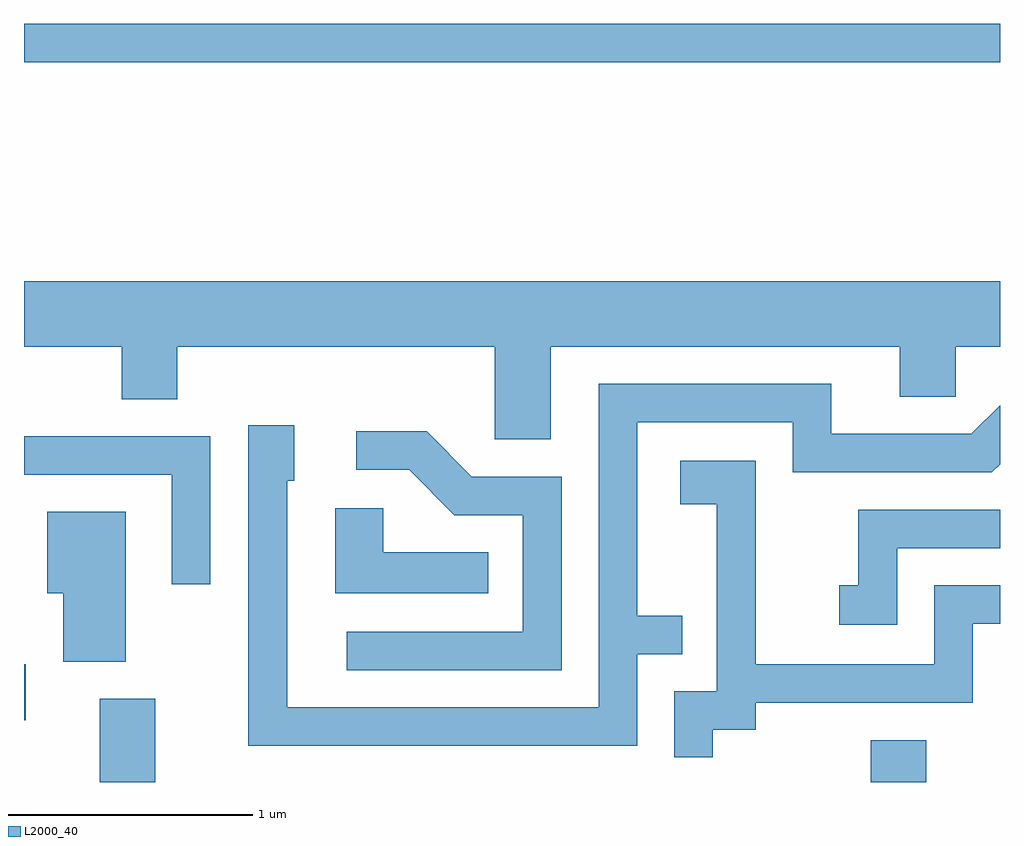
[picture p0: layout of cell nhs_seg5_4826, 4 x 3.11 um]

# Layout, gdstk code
import gdstk
lib = gdstk.Library(unit=1e-6, precision=1e-09)
def R(c, l, rs):  # rectangles x0, y0, x1, y1
    for r in rs: c.add(gdstk.rectangle(r[:2], r[2:], *l))
def P(c, l, *ps):  # polygons
    for p in ps: c.add(gdstk.Polygon(p, *l))
L2000_40 = (2000, 40)

nhs_seg5_4826 = lib.new_cell('nhs_seg5_4826')
R(nhs_seg5_4826, L2000_40, [(327.921,1506.072,328.149,1506.414), (331.081,1506.072,331.309,1506.244), (327.611,1506.326,327.619,1506.554), (327.611,1509.021,331.611,1509.179)])
P(nhs_seg5_4826, L2000_40, [(329.769,1507.856),(331.201,1507.856),(331.201,1507.651),(331.429,1507.651),(331.429,1507.856),(331.611,1507.856),(331.611,1508.124),(327.611,1508.124),(327.611,1507.856),(328.011,1507.856),(328.011,1507.641),(328.239,1507.641),(328.239,1507.856),(329.541,1507.856),(329.541,1507.476),(329.769,1507.476)],
  [(330.124,1506.596),(330.308,1506.596),(330.308,1506.754),(330.124,1506.754),(330.124,1507.546),(330.761,1507.546),(330.761,1507.341),(331.577,1507.341),(331.611,1507.375),(331.611,1507.616),(331.494,1507.499),(330.919,1507.499),(330.919,1507.704),(329.966,1507.704),(329.966,1506.379),(328.689,1506.379),(328.689,1507.306),(328.719,1507.306),(328.719,1507.534),(328.531,1507.534),(328.531,1506.221),(330.124,1506.221)],
  [(329.814,1507.324),(329.447,1507.324),(329.262,1507.509),(328.973,1507.509),(328.973,1507.351),(329.189,1507.351),(329.374,1507.166),(329.656,1507.166),(329.656,1506.689),(328.933,1506.689),(328.933,1506.531),(329.814,1506.531)],
  [(328.374,1507.489),(327.611,1507.489),(327.611,1507.331),(328.216,1507.331),(328.216,1506.883),(328.374,1506.883)],
  [(330.434,1506.286),(330.609,1506.286),(330.609,1506.396),(331.499,1506.396),(331.499,1506.721),(331.611,1506.721),(331.611,1506.879),(331.341,1506.879),(331.341,1506.554),(330.609,1506.554),(330.609,1507.389),(330.301,1507.389),(330.301,1507.211),(330.451,1507.211),(330.451,1506.444),(330.276,1506.444),(330.276,1506.173),(330.434,1506.173)],
  [(329.513,1507.014),(329.084,1507.014),(329.084,1507.194),(328.886,1507.194),(328.886,1506.846),(329.513,1506.846)],
  [(331.189,1507.031),(331.611,1507.031),(331.611,1507.189),(331.031,1507.189),(331.031,1506.879),(330.953,1506.879),(330.953,1506.716),(331.189,1506.716)],
  [(328.029,1507.179),(327.706,1507.179),(327.706,1506.846),(327.771,1506.846),(327.771,1506.566),(328.029,1506.566)])

lib.write_gds('nhs_seg5_4826.gds')
